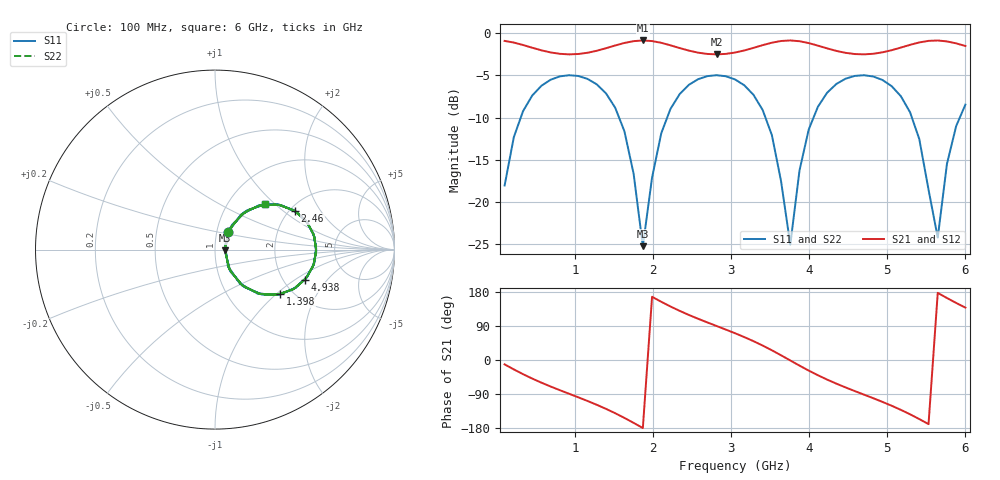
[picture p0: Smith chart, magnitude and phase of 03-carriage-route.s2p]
! UNVERIFIED synthetic. Does not qualify hardware.
! Carriage GMSL pair. Stackup/width UNVERIFIED. 100 ohm TARGET.
# Hz S RI R 50
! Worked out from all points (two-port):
!   51 points, 100 MHz to 6 GHz, reference 50 ohm
!   highest |S21| = -0.85 dB at 1.87 GHz (marker M1); lowest = -2.5 dB at 2.814 GHz (marker M2)
!   |S21| within 3 dB of the highest: start of sweep to end of sweep
!   lowest |S11| = -25.3 dB at 1.87 GHz (marker M3), VSWR 1.12, Z = 55.8 - j0.428 ohm
!   |S11| at or under -10 dB: 1.565 GHz to 2.182 GHz (616.4 MHz wide, 32.9 % of centre); 3.44 GHz to 4.056 GHz (615.9 MHz wide, 16.4 % of centre); 5.315 GHz to 5.929 GHz (613.8 MHz wide, 10.9 % of centre)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
!   |S22| runs from -25.3 to -5.0 dB; largest |S21 - S12| = 0
!   S11 on the Smith chart (normalised r, x): 100 MHz: 1.14, +0.23; 1.398 GHz: 1.72, -1.06; 2.46 GHz: 2.13, +1.22; 4.938 GHz: 2.60, -1.21; 6 GHz: 1.47, +0.87
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1e8  0.0749 0.1001  0.8823 -0.1806  0.8823 -0.1806  0.0749 0.1001
4.54e8  0.345 0.2522  0.5379 -0.6197  0.5379 -0.6197  0.345 0.2522
8.08e8  0.5477 0.0895  0.1348 -0.7429  0.1348 -0.7429  0.5477 0.0895
1.162e9  0.5145 -0.1509  -0.2387 -0.7281  -0.2387 -0.7281  0.5145 -0.1509
1.398e9  0.363 -0.249  -0.5119 -0.6342  -0.5119 -0.6342  0.363 -0.249
1.634e9  0.1609 -0.2072  -0.7791 -0.4004  -0.7791 -0.4004  0.1609 -0.2072
1.87e9  0.0545 -0.00383  -0.9063 -0.0068  -0.9063 -0.0068  0.0545 -0.00383
2.106e9  0.1551 0.2029  -0.7861 0.3902  -0.7861 0.3902  0.1551 0.2029
2.46e9  0.4453 0.2154  -0.3807 0.6909  -0.3807 0.6909  0.4453 0.2154
2.814e9  0.564 -0.00243  0.00358 0.7496  0.00358 0.7496  0.564 -0.00243
3.05e9  0.5081 -0.1593  0.2545 0.725  0.2545 0.725  0.5081 -0.1593
3.522e9  0.1499 -0.1988  0.7925 0.3805  0.7925 0.3805  0.1499 -0.1988
3.758e9  0.0547 0.0109  0.9061 -0.0195  0.9061 -0.0195  0.0547 0.0109
3.876e9  0.0878 0.1261  0.867 -0.2296  0.867 -0.2296  0.0878 0.1261
4.112e9  0.2674 0.2513  0.6442 -0.5459  0.6442 -0.5459  0.2674 0.2513
4.584e9  0.5541 0.0701  0.1046 -0.7456  0.1046 -0.7456  0.5541 0.0701
4.938e9  0.5012 -0.1674  -0.2704 -0.7216  -0.2704 -0.7216  0.5012 -0.1674
5.056e9  0.4309 -0.2238  -0.4055 -0.6821  -0.4055 -0.6821  0.4309 -0.2238
5.41e9  0.1392 -0.1898  -0.8055 -0.3599  -0.8055 -0.3599  0.1392 -0.1898
5.646e9  0.0557 0.0257  -0.9048 0.0457  -0.9048 0.0457  0.0557 0.0257
5.764e9  0.0953 0.1384  -0.8581 0.2535  -0.8581 0.2535  0.0953 0.1384
6e9  0.2801 0.2531  -0.6274 0.5593  -0.6274 0.5593  0.2801 0.2531
